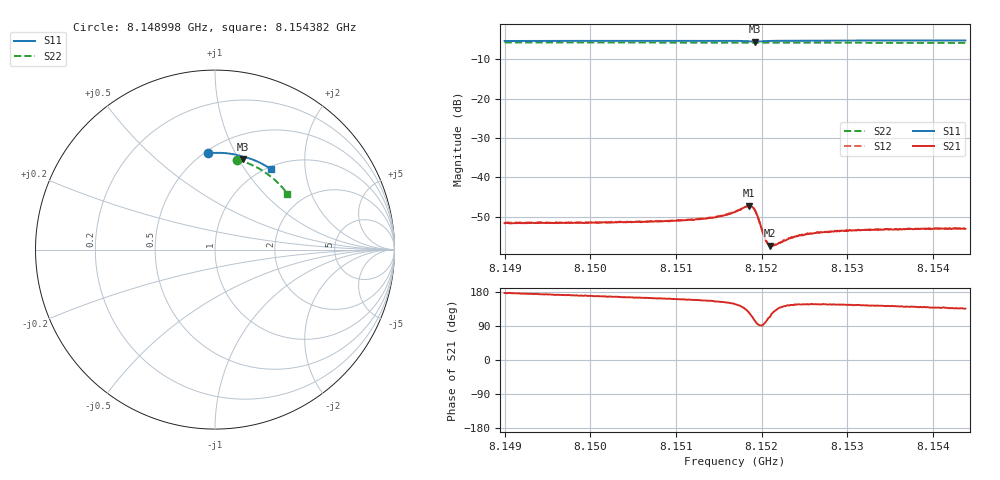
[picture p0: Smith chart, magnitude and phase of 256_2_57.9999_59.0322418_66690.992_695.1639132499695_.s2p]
#  HZ  S  RI  R  50.00
! Rohde & Schwarz Vector Network Analyzer
! Rohde-Schwarz,ZNB20-2Port,1311601062101988,3.16
! Created: UTC 3/21/2024, 1:01:46 AM
! freq[Hz]  re:S11  im:S11  re:S21  im:S21  re:S12  im:S12  re:S22  im:S22
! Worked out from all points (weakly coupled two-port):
!   401 points, 8.148998 GHz to 8.154382 GHz, reference 50 ohm
!   highest |S21| = -47.23 dB at 8.151851 GHz (marker M1); lowest = -57.3 dB at 8.152094 GHz (marker M2)
!   lowest |S11| = -5.5 dB at 8.151919 GHz (marker M3), VSWR 3.24, Z = 37.3 + j52.3 ohm
!   |S11| at or under -10 dB: nowhere
!   |S22| runs from -5.9 to -5.7 dB; largest |S21 - S12| = 0.00013
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8.1489981e9  -0.0402 0.5365  -0.00261 0.000146  -0.00265 0.000187  0.123 0.5011
8.1498999e9  0.0227 0.5393  -0.00261 0.000467  -0.00262 0.000506  0.1789 0.483
8.1508016e9  0.0858 0.5343  -0.00262 0.000815  -0.00266 0.000885  0.2319 0.4588
8.1510708e9  0.1045 0.5313  -0.00268 0.000946  -0.00267 0.00103  0.2471 0.4504
8.1513804e9  0.1264 0.5266  -0.00277 0.00123  -0.00279 0.00129  0.2641 0.4401
8.1515688e9  0.1404 0.5228  -0.00294 0.00153  -0.00294 0.0016  0.2744 0.4335
8.1516899e9  0.1494 0.519  -0.00306 0.00196  -0.00307 0.00203  0.2807 0.4291
8.1518514e9  0.1592 0.5086  -0.00254 0.00354  -0.00248 0.00357  0.2893 0.4229
8.1518918e9  0.1584 0.5055  -0.0017 0.00386  -0.00164 0.00393  0.2912 0.4215
8.1519187e9  0.1568 0.5048  -0.000973 0.00375  -0.000933 0.0038  0.2924 0.4205
8.1519591e9  0.1551 0.5067  -0.000213 0.00308  -0.00018 0.00312  0.2944 0.4191
8.1520129e9  0.1571 0.5106  -6.09e-05 0.00201  -5.85e-05 0.00199  0.2973 0.4173
8.1520399e9  0.1592 0.5117  -0.000233 0.00167  -0.000235 0.00167  0.2985 0.4162
8.1520668e9  0.1616 0.5127  -0.000399 0.00141  -0.000403 0.00144  0.3002 0.4152
8.1520937e9  0.1641 0.513  -0.00052 0.00126  -0.000546 0.00127  0.3014 0.4142
8.1521475e9  0.1688 0.5132  -0.00086 0.00109  -0.000812 0.00111  0.3043 0.412
8.1523225e9  0.1826 0.5106  -0.00135 0.001  -0.00138 0.000997  0.3133 0.4051
8.1524571e9  0.1925 0.5078  -0.00152 0.00101  -0.00152 0.00105  0.32 0.3997
8.1525917e9  0.2016 0.5046  -0.00163 0.00102  -0.00161 0.00106  0.3265 0.3942
8.1529685e9  0.2266 0.4948  -0.00172 0.00116  -0.00174 0.0012  0.3442 0.378
8.1534934e9  0.2597 0.4792  -0.00172 0.00133  -0.00171 0.0014  0.3677 0.3542
8.1543817e9  0.3128 0.4479  -0.00159 0.00155  -0.00159 0.00158  0.4036 0.3107
